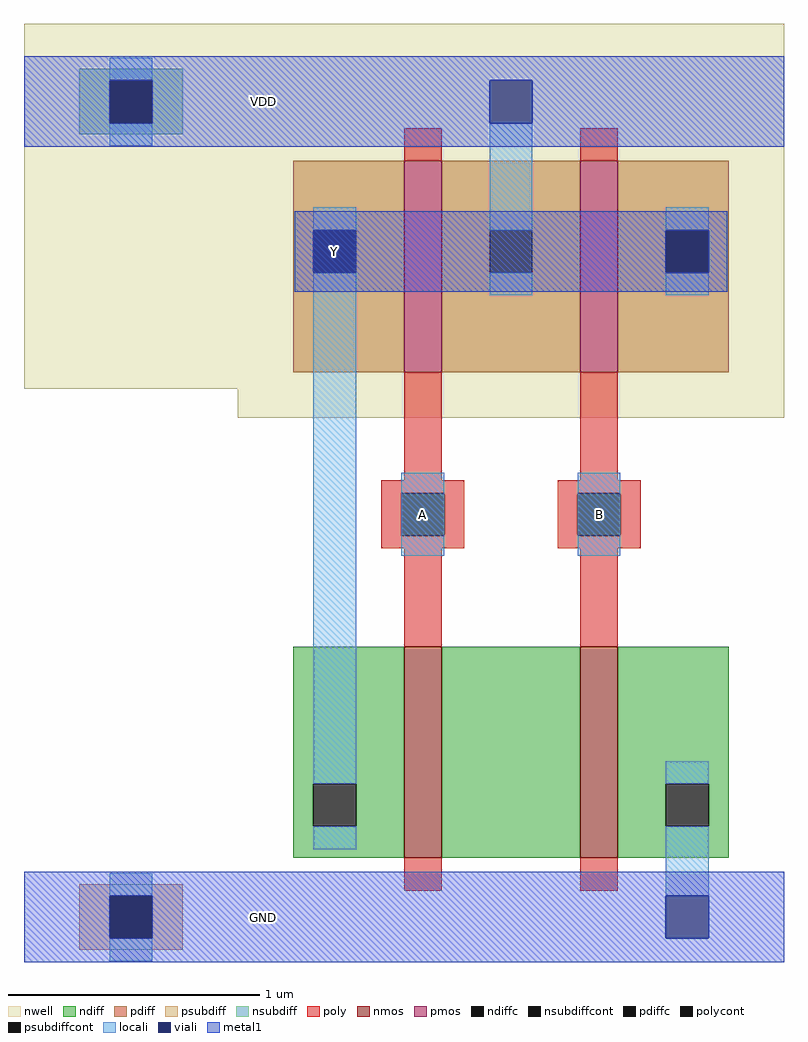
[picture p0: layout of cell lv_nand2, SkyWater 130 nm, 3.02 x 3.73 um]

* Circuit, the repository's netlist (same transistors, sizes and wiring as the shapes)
* NGSPICE file created from lv_nand2.ext - technology: sky130A

.subckt nand2 A B Y VDD GND w_0_397# VSUBS
X0 GND B a_162_47# VSUBS sky130_fd_pr__nfet_01v8 ad=0.3696 pd=2.56 as=0.231 ps=1.39 w=0.84 l=0.15
X1 Y B VDD w_0_397# sky130_fd_pr__pfet_01v8 ad=0.3696 pd=2.56 as=0.231 ps=1.39 w=0.84 l=0.15
X2 VDD A Y w_0_397# sky130_fd_pr__pfet_01v8 ad=0.231 pd=1.39 as=0.3696 ps=2.56 w=0.84 l=0.15
X3 a_162_47# A Y VSUBS sky130_fd_pr__nfet_01v8 ad=0.231 pd=1.39 as=0.3696 ps=2.56 w=0.84 l=0.15
.ends

.subckt lv_nand2 A B Y VDD GND
Xu A B Y VDD GND VDD GND nand2
.ends

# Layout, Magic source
magic
tech sky130A
magscale 1 2
<< locali >>
rect 300 303 334 337
rect 440 303 474 337
<< metal1 >>
rect 173 631 207 665
rect 230 512 264 546
rect 173 -17 207 17
use tap  t
transform 1 0 0 0 1 0
box 0 -36 170 710
use nand2  u
transform 1 0 170 0 1 0
box 0 -36 434 710
<< labels >>
rlabel locali 317 320 317 320 0 A
port 1 nsew
rlabel locali 457 320 457 320 0 B
port 2 nsew
rlabel metal1 247 529 247 529 0 Y
port 3 nsew
rlabel metal1 190 648 190 648 0 VDD
port 4 nsew
rlabel metal1 190 0 190 0 0 GND
port 5 nsew
<< end >>

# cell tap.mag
magic
tech sky130A
magscale 1 2
<< nwell >>
rect 0 420 170 710
<< psubdiff >>
rect 44 17 126 26
rect 44 -17 68 17
rect 102 -17 126 17
rect 44 -26 126 -17
<< nsubdiff >>
rect 44 665 126 674
rect 44 631 68 665
rect 102 631 126 665
rect 44 622 126 631
<< psubdiffcont >>
rect 68 -17 102 17
<< nsubdiffcont >>
rect 68 631 102 665
<< locali >>
rect 68 665 102 683
rect 68 613 102 631
rect 68 17 102 35
rect 68 -35 102 -17
<< viali >>
rect 68 631 102 665
rect 68 -17 102 17
<< metal1 >>
rect 0 665 170 684
rect 0 631 68 665
rect 102 631 170 665
rect 0 612 170 631
rect 0 17 170 36
rect 0 -17 68 17
rect 102 -17 170 17
rect 0 -36 170 -17
<< labels >>
rlabel metal1 20 648 20 648 0 VDD
port 1 nsew
rlabel metal1 20 0 20 0 0 GND
port 2 nsew
<< end >>

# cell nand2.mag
magic
tech sky130A
magscale 1 2
<< nwell >>
rect 0 397 434 710
<< nmos >>
rect 132 47 162 215
rect 272 47 302 215
<< pmos >>
rect 132 433 162 601
rect 272 433 302 601
<< ndiff >>
rect 44 106 132 215
rect 44 72 60 106
rect 94 72 132 106
rect 44 47 132 72
rect 162 47 272 215
rect 302 106 390 215
rect 302 72 340 106
rect 374 72 390 106
rect 302 47 390 72
<< pdiff >>
rect 44 546 132 601
rect 44 512 60 546
rect 94 512 132 546
rect 44 433 132 512
rect 162 546 272 601
rect 162 512 200 546
rect 234 512 272 546
rect 162 433 272 512
rect 302 546 390 601
rect 302 512 340 546
rect 374 512 390 546
rect 302 433 390 512
<< ndiffc >>
rect 60 72 94 106
rect 340 72 374 106
<< pdiffc >>
rect 60 512 94 546
rect 200 512 234 546
rect 340 512 374 546
<< poly >>
rect 132 601 162 627
rect 272 601 302 627
rect 132 347 162 433
rect 272 347 302 433
rect 114 337 180 347
rect 114 303 130 337
rect 164 303 180 337
rect 114 293 180 303
rect 254 337 320 347
rect 254 303 270 337
rect 304 303 320 337
rect 254 293 320 303
rect 132 215 162 293
rect 272 215 302 293
rect 132 21 162 47
rect 272 21 302 47
<< polycont >>
rect 130 303 164 337
rect 270 303 304 337
<< locali >>
rect 60 546 94 564
rect 60 106 94 512
rect 200 546 234 631
rect 200 494 234 512
rect 340 546 374 564
rect 340 494 374 512
rect 130 337 164 353
rect 130 287 164 303
rect 270 337 304 353
rect 270 287 304 303
rect 60 54 94 72
rect 340 106 374 124
rect 340 17 374 72
<< viali >>
rect 200 631 234 665
rect 60 512 94 546
rect 340 512 374 546
rect 340 -17 374 17
<< metal1 >>
rect 0 665 434 684
rect 0 631 200 665
rect 234 631 434 665
rect 0 612 434 631
rect 45 546 389 561
rect 45 512 60 546
rect 94 512 340 546
rect 374 512 389 546
rect 45 497 389 512
rect 0 17 434 36
rect 0 -17 340 17
rect 374 -17 434 17
rect 0 -36 434 -17
<< labels >>
rlabel polycont 147 320 147 320 0 A
port 1 nsew
rlabel polycont 287 320 287 320 0 B
port 2 nsew
rlabel viali 77 529 77 529 0 Y
port 3 nsew
rlabel metal1 20 648 20 648 0 VDD
port 4 nsew
rlabel metal1 20 0 20 0 0 GND
port 5 nsew
<< end >>
